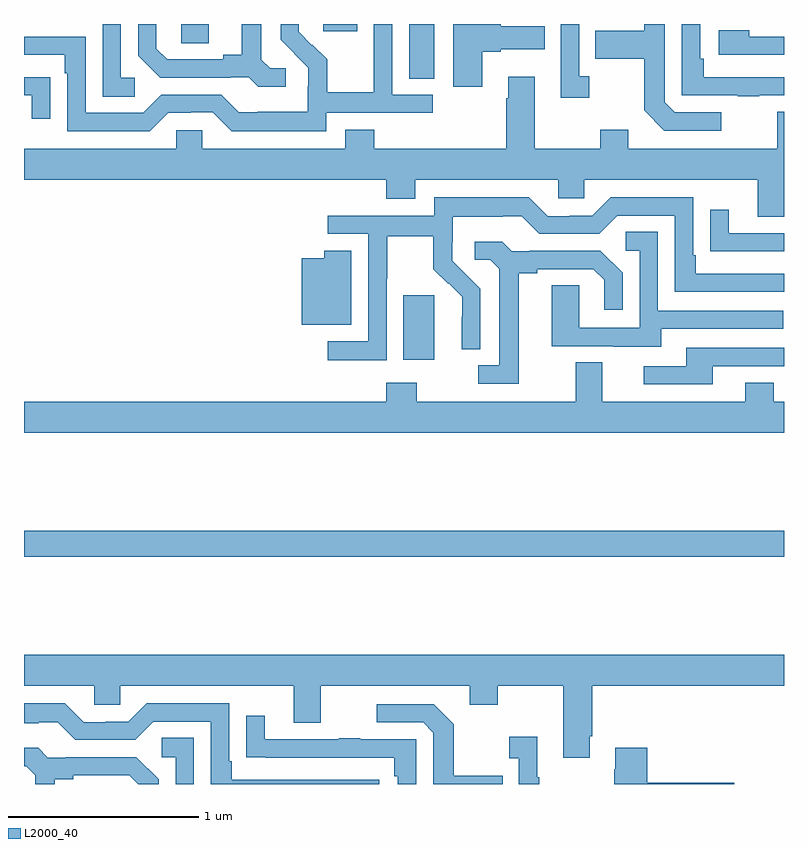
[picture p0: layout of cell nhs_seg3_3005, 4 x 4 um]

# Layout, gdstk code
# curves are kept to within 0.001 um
import gdstk
lib = gdstk.Library(unit=1e-6, precision=1e-09)
def R(c, l, rs):  # rectangles x0, y0, x1, y1
    for r in rs: c.add(gdstk.rectangle(r[:2], r[2:], *l))
def P(c, l, *ps):  # polygons
    for p in ps: c.add(gdstk.Polygon(p, *l))
L2000_40 = (2000, 40)

nhs_seg3_3005 = lib.new_cell('nhs_seg3_3005')
R(nhs_seg3_3005, L2000_40, [(267,701.596,271,701.732), (268.997,702.633,269.158,702.973), (269.027,704.113,269.158,704.4), (267.828,704.299,267.973,704.4), (268.574,704.361,268.753,704.4)])
P(nhs_seg3_3005, L2000_40, [(267.583,704.118),(267.51,704.118),(267.51,704.4),(267.414,704.4),(267.414,704.017),(267.583,704.017)],
  [(268.59,703.932),(269.152,703.932),(269.152,704.028),(268.938,704.028),(268.938,704.4),(268.842,704.4),(268.842,704.264),(268.84,704.264),(268.84,704.041),(268.595,704.041),(268.595,704.215),(268.518,704.292),(268.515,704.289),(268.445,704.36),(268.445,704.4),(268.35,704.4),(268.35,704.318),(268.496,704.17),(268.496,704.073),(268.494,704.073),(268.494,703.939),(268.231,703.939),(268.231,703.935),(268.131,703.935),(268.038,704.028),(267.723,704.028),(267.627,703.932),(267.324,703.932),(267.324,704.334),(267,704.334),(267,704.238),(267.215,704.238),(267.215,704.141),(267.228,704.141),(267.228,703.836),(267.663,703.836),(267.759,703.932),(267.878,703.932),(267.878,703.935),(267.993,703.935),(268.093,703.835),(268.59,703.835)],
  [(269.974,704.126),(269.922,704.126),(269.922,704.4),(269.826,704.4),(269.826,704.013),(269.974,704.013)],
  [(269.413,704.255),(269.509,704.255),(269.509,704.267),(269.74,704.267),(269.74,704.389),(269.509,704.389),(269.509,704.4),(269.258,704.4),(269.258,704.07),(269.413,704.07)],
  [(268.378,704.166),(268.296,704.166),(268.249,704.213),(268.249,704.4),(268.145,704.4),(268.145,704.237),(268.049,704.237),(268.049,704.214),(267.754,704.214),(267.697,704.271),(267.697,704.4),(267.6,704.4),(267.6,704.234),(267.716,704.118),(268.088,704.118),(268.088,704.121),(268.182,704.121),(268.234,704.069),(268.378,704.069)],
  [(270.67,703.935),(270.426,703.935),(270.372,703.989),(270.372,704.4),(270.264,704.4),(270.264,704.365),(270.007,704.365),(270.007,704.218),(270.264,704.218),(270.264,703.945),(270.369,703.839),(270.67,703.839)],
  [(270.869,704.025),(271,704.025),(271,704.121),(270.578,704.121),(270.578,704.218),(270.558,704.218),(270.558,704.4),(270.462,704.4),(270.462,704.025),(270.757,704.025),(270.757,704.02),(270.869,704.02)],
  [(271,704.334),(270.818,704.334),(270.818,704.368),(270.657,704.368),(270.657,704.238),(271,704.238)],
  [(271,703.939),(270.965,703.939),(270.965,703.744),(270.181,703.744),(270.181,703.843),(270.034,703.843),(270.034,703.744),(269.689,703.744),(269.689,704.122),(269.549,704.122),(269.549,704.009),(269.537,704.009),(269.537,703.744),(268.844,703.744),(268.844,703.843),(268.691,703.843),(268.691,703.744),(267.939,703.744),(267.939,703.842),(267.801,703.842),(267.801,703.744),(267,703.744),(267,703.58),(268.907,703.58),(268.907,703.481),(269.059,703.481),(269.059,703.58),(269.811,703.58),(269.811,703.482),(269.949,703.482),(269.949,703.58),(270.863,703.58),(270.863,703.386),(271,703.386)],
  [(267.137,704.12),(267.035,704.12),(267.035,704.121),(267,704.121),(267,704.025),(267.041,704.025),(267.041,703.902),(267.137,703.902)],
  [(268.908,703.06),(268.911,703.06),(268.911,703.284),(269.155,703.284),(269.155,703.109),(269.232,703.032),(269.235,703.035),(269.306,702.965),(269.306,702.86),(269.303,702.86),(269.303,702.688),(269.4,702.688),(269.4,703.006),(269.254,703.154),(269.254,703.251),(269.256,703.251),(269.256,703.385),(269.519,703.385),(269.519,703.389),(269.619,703.389),(269.712,703.296),(270.027,703.296),(270.123,703.392),(270.426,703.392),(270.426,702.99),(271,702.99),(271,703.086),(270.535,703.086),(270.535,703.183),(270.522,703.183),(270.522,703.488),(270.087,703.488),(269.991,703.392),(269.873,703.392),(269.873,703.389),(269.757,703.389),(269.657,703.489),(269.16,703.489),(269.16,703.392),(268.599,703.392),(268.599,703.296),(268.812,703.296),(268.812,702.729),(268.599,702.729),(268.599,702.631),(268.908,702.631)],
  [(271,703.299),(270.709,703.299),(270.709,703.423),(270.613,703.423),(270.613,703.204),(270.715,703.204),(270.715,703.203),(271,703.203)],
  [(270.355,702.795),(270.995,702.795),(270.995,702.891),(270.336,702.891),(270.336,703.307),(270.168,703.307),(270.168,703.206),(270.24,703.206),(270.24,702.801),(269.922,702.801),(269.922,703.025),(269.777,703.025),(269.777,702.705),(270.101,702.705),(270.101,702.701),(270.355,702.701)],
  [(269.605,703.088),(269.701,703.088),(269.701,703.11),(269.996,703.11),(270.053,703.053),(270.053,702.897),(270.15,702.897),(270.15,703.09),(270.034,703.206),(269.662,703.206),(269.662,703.203),(269.568,703.203),(269.516,703.255),(269.373,703.255),(269.373,703.158),(269.454,703.158),(269.501,703.111),(269.501,702.603),(269.391,702.603),(269.391,702.507),(269.605,702.507)],
  [(268.723,703.207),(268.58,703.207),(268.58,703.168),(268.463,703.168),(268.463,702.818),(268.723,702.818)],
  [(270.625,702.6),(271,702.6),(271,702.696),(270.485,702.696),(270.485,702.6),(270.261,702.6),(270.261,702.504),(270.625,702.504)],
  [(271,702.412),(270.945,702.412),(270.945,702.511),(270.797,702.511),(270.797,702.412),(270.043,702.412),(270.043,702.62),(269.903,702.62),(269.903,702.412),(269.067,702.412),(269.067,702.511),(268.907,702.511),(268.907,702.412),(267,702.412),(267,702.248),(271,702.248)],
  [(269.977,700.651),(269.99,700.651),(269.99,700.916),(271,700.916),(271,701.08),(267,701.08),(267,700.916),(267.369,700.916),(267.369,700.818),(267.507,700.818),(267.507,700.916),(268.421,700.916),(268.421,700.722),(268.561,700.722),(268.561,700.916),(269.345,700.916),(269.345,700.817),(269.493,700.817),(269.493,700.916),(269.837,700.916),(269.837,700.539),(269.977,700.539)],
  [(268.87,700.422),(268.093,700.422),(268.093,700.519),(268.08,700.519),(268.08,700.824),(267.645,700.824),(267.549,700.728),(267.431,700.728),(267.431,700.725),(267.315,700.725),(267.215,700.825),(267,700.825),(267,700.721),(267.077,700.721),(267.077,700.725),(267.177,700.725),(267.27,700.632),(267.585,700.632),(267.681,700.728),(267.984,700.728),(267.984,700.4),(268.87,700.4)],
  [(269.519,700.443),(269.263,700.443),(269.263,700.715),(269.157,700.821),(268.857,700.821),(268.857,700.725),(269.1,700.725),(269.154,700.671),(269.154,700.4),(269.519,700.4)],
  [(269.064,700.635),(268.769,700.635),(268.769,700.64),(268.657,700.64),(268.657,700.635),(268.267,700.635),(268.267,700.759),(268.171,700.759),(268.171,700.54),(268.273,700.54),(268.273,700.539),(268.948,700.539),(268.948,700.442),(268.968,700.442),(268.968,700.4),(269.064,700.4)],
  [(269.713,700.435),(269.701,700.435),(269.701,700.648),(269.553,700.648),(269.553,700.535),(269.604,700.535),(269.604,700.4),(269.713,700.4)],
  [(267.894,700.643),(267.726,700.643),(267.726,700.542),(267.798,700.542),(267.798,700.4),(267.894,700.4)],
  [(270.739,700.406),(270.281,700.406),(270.281,700.591),(270.113,700.591),(270.113,700.478),(270.106,700.478),(270.106,700.4),(270.739,700.4)],
  [(267.163,700.424),(267.259,700.424),(267.259,700.446),(267.554,700.446),(267.6,700.4),(267.708,700.4),(267.708,700.426),(267.592,700.542),(267.22,700.542),(267.22,700.539),(267.126,700.539),(267.074,700.591),(267,700.591),(267,700.494),(267.012,700.494),(267.059,700.447),(267.059,700.4),(267.163,700.4)])

lib.write_gds('nhs_seg3_3005.gds')
